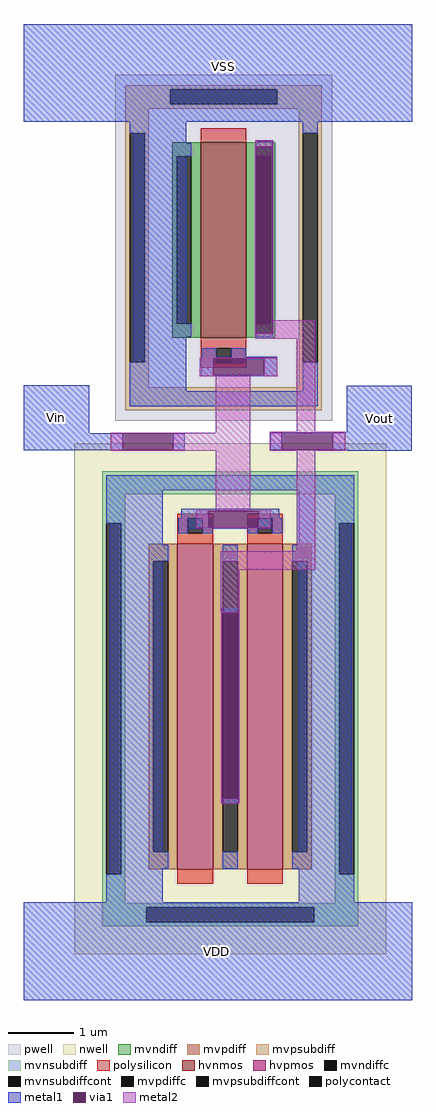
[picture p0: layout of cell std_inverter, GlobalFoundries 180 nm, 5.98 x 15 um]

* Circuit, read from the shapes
.subckt std_inverter VDD VSS Vin Vout
XM1 Vout Vin VSS VSS nfet_06v0 w=3u l=0.7u
XM2 Vout Vin VDD VDD pfet_06v0 w=5u l=0.55u m=2
.ends

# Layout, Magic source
magic
tech gf180mcuD
magscale 1 10
<< metal1 >>
rect 265 1350 1460 1650
rect 266 392 466 540
rect 602 496 765 1350
rect 979 1272 1031 1290
rect 979 687 1031 700
rect 811 622 1045 627
rect 811 570 848 622
rect 1004 570 1045 622
rect 811 567 1045 570
rect 1258 393 1458 538
rect 266 340 569 392
rect 725 340 761 392
rect 1023 341 1059 393
rect 1215 341 1458 393
rect 1258 338 1458 341
rect 529 -1050 692 253
rect 750 154 1051 160
rect 750 102 832 154
rect 988 102 1051 154
rect 750 99 1051 102
rect 874 -159 926 -146
rect 874 -745 926 -731
rect 1110 -1050 1273 257
rect 265 -1350 1460 -1050
<< via1 >>
rect 979 700 1031 1272
rect 848 570 1004 622
rect 569 340 725 392
rect 1059 341 1215 393
rect 832 102 988 154
rect 874 -731 926 -159
<< metal2 >>
rect 977 1272 1033 1292
rect 977 700 979 1272
rect 1031 740 1033 1272
rect 1031 700 1162 740
rect 977 683 1162 700
rect 807 622 1045 624
rect 807 570 848 622
rect 1004 570 1045 622
rect 807 568 1045 570
rect 856 394 962 568
rect 1105 396 1162 683
rect 533 392 962 394
rect 533 340 569 392
rect 725 340 962 392
rect 533 338 962 340
rect 1021 393 1254 396
rect 1021 341 1059 393
rect 1215 341 1254 393
rect 1021 338 1254 341
rect 856 156 962 338
rect 796 154 1024 156
rect 796 102 832 154
rect 988 102 1024 154
rect 796 100 1024 102
rect 1105 29 1162 338
rect 871 -28 1162 29
rect 871 -156 928 -28
rect 872 -159 928 -156
rect 872 -731 874 -159
rect 926 -731 928 -159
rect 872 -747 928 -731
use pmos_6p0_MUW2NR  XM0
transform 1 0 900 0 1 -424
box -480 -786 480 786
use nmos_6p0_BUMBJU  XM1
transform 1 0 880 0 1 962
box -334 -532 334 532
<< labels >>
flabel metal1 s 758 -1302 958 -1102 0 FreeSans 1600 0 0 0 VDD
port 1 nsew
flabel metal1 s 780 1419 980 1619 0 FreeSans 1600 0 0 0 VSS
port 2 nsew
flabel metal1 s 266 340 466 540 0 FreeSans 1600 0 0 0 Vin
port 3 nsew
flabel metal1 s 1258 338 1458 538 0 FreeSans 1600 0 0 0 Vout
port 4 nsew
<< properties >>
string GDS_END 20604
string GDS_FILE ../gds/simple_por.gds.gz
string GDS_START 16960
<< end >>

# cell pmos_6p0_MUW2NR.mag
magic
tech gf180mcuD
magscale 1 10
<< nwell >>
rect -480 -786 480 786
<< hvpmos >>
rect -162 -524 -52 476
rect 52 -524 162 476
<< mvpdiff >>
rect -250 422 -162 476
rect -250 -470 -237 422
rect -191 -470 -162 422
rect -250 -524 -162 -470
rect -52 422 52 476
rect -52 -470 -23 422
rect 23 -470 52 422
rect -52 -524 52 -470
rect 162 422 250 476
rect 162 -470 191 422
rect 237 -470 250 422
rect 162 -524 250 -470
<< mvpdiffc >>
rect -237 -470 -191 422
rect -23 -470 23 422
rect 191 -470 237 422
<< mvnsubdiff >>
rect -394 628 394 700
rect -394 540 -322 628
rect -394 -540 -381 540
rect -335 -540 -322 540
rect 322 540 394 628
rect -394 -628 -322 -540
rect 322 -540 335 540
rect 381 -540 394 540
rect 322 -628 394 -540
rect -394 -641 394 -628
rect -394 -687 -258 -641
rect 258 -687 394 -641
rect -394 -700 394 -687
<< mvnsubdiffcont >>
rect -381 -540 -335 540
rect 335 -540 381 540
rect -258 -687 258 -641
<< polysilicon >>
rect -162 555 -52 568
rect -162 509 -130 555
rect -84 509 -52 555
rect -162 476 -52 509
rect 52 555 162 568
rect 52 509 84 555
rect 130 509 162 555
rect 52 476 162 509
rect -162 -568 -52 -524
rect 52 -568 162 -524
<< polycontact >>
rect -130 509 -84 555
rect 84 509 130 555
<< metal1 >>
rect -381 641 381 687
rect -381 540 -335 641
rect -160 509 -130 555
rect -84 509 -54 555
rect 54 509 84 555
rect 130 509 160 555
rect 335 540 381 641
rect -237 422 -191 474
rect -237 -522 -191 -470
rect -23 422 23 474
rect -23 -522 23 -470
rect 191 422 237 474
rect 191 -522 237 -470
rect -381 -641 -335 -540
rect 335 -641 381 -540
rect -381 -687 -258 -641
rect 258 -687 381 -641
<< properties >>
string FIXED_BBOX -348 -664 348 664
string GDS_END 16916
string GDS_FILE ../gds/simple_por.gds.gz
string GDS_START 10960
<< end >>

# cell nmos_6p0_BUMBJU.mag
magic
tech gf180mcuD
magscale 1 10
<< pwell >>
rect -334 -532 334 532
<< hvnmos >>
rect -70 -276 70 324
<< mvndiff >>
rect -158 282 -70 324
rect -158 -234 -145 282
rect -99 -234 -70 282
rect -158 -276 -70 -234
rect 70 282 158 324
rect 70 -234 99 282
rect 145 -234 158 282
rect 70 -276 158 -234
<< mvndiffc >>
rect -145 -234 -99 282
rect 99 -234 145 282
<< mvpsubdiff >>
rect -302 487 302 500
rect -302 441 -164 487
rect 164 441 302 487
rect -302 428 302 441
rect -302 352 -230 428
rect -302 -352 -289 352
rect -243 -352 -230 352
rect 230 352 302 428
rect -302 -428 -230 -352
rect 230 -352 243 352
rect 289 -352 302 352
rect 230 -428 302 -352
rect -302 -500 302 -428
<< mvpsubdiffcont >>
rect -164 441 164 487
rect -289 -352 -243 352
rect 243 -352 289 352
<< polysilicon >>
rect -70 324 70 368
rect -70 -309 70 -276
rect -70 -355 -23 -309
rect 23 -355 70 -309
rect -70 -368 70 -355
<< polycontact >>
rect -23 -355 23 -309
<< metal1 >>
rect -289 441 -164 487
rect 164 441 289 487
rect -289 352 -243 441
rect 243 352 289 441
rect -145 282 -99 322
rect -145 -274 -99 -234
rect 99 282 145 322
rect 99 -274 145 -234
rect -289 -441 -243 -352
rect -68 -355 -23 -309
rect 23 -355 68 -309
rect 243 -441 289 -352
rect -289 -487 289 -441
<< properties >>
string FIXED_BBOX -266 -464 266 464
string GDS_END 10912
string GDS_FILE ../gds/simple_por.gds.gz
string GDS_START 7004
<< end >>
